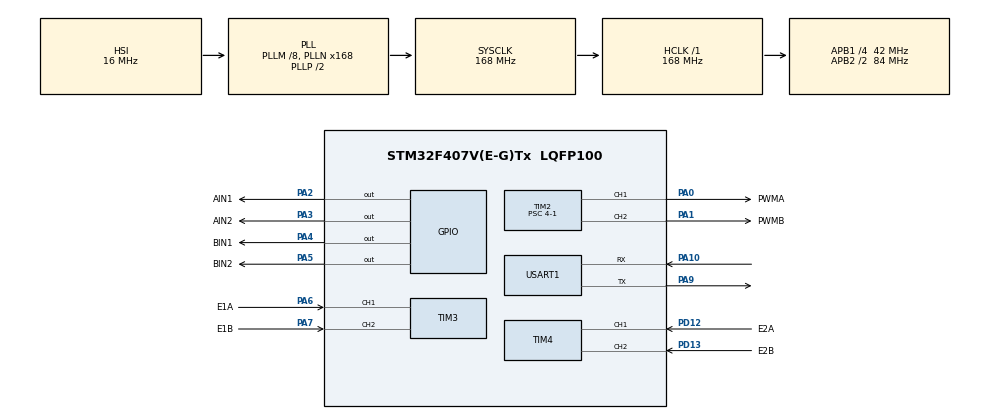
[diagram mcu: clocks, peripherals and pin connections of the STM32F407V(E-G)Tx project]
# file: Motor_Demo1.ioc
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Mcu.Family=STM32F4
Mcu.Name=STM32F407V(E-G)Tx
Mcu.Package=LQFP100
NVIC.PriorityGroup=NVIC_PRIORITYGROUP_4
NVIC.TIM6_DAC_IRQn=true\:0\:0\:false\:false\:true\:true\:true\:true
PA0-WKUP.GPIO_Label=PWMA
PA0-WKUP.Signal=S_TIM2_CH1_ETR
PA1.GPIO_Label=PWMB
PA1.Signal=S_TIM2_CH2
PA10.Mode=Asynchronous
PA10.Signal=USART1_RX
PA13.Mode=Serial_Wire
PA13.Signal=SYS_JTMS-SWDIO
PA14.Mode=Serial_Wire
PA14.Signal=SYS_JTCK-SWCLK
PA2.GPIO_Label=AIN1
PA2.Signal=GPIO_Output
PA3.GPIO_Label=AIN2
PA3.Signal=GPIO_Output
PA4.GPIO_Label=BIN1
PA4.Signal=GPIO_Output
PA5.GPIO_Label=BIN2
PA5.Signal=GPIO_Output
PA6.GPIO_Label=E1A
PA6.Signal=S_TIM3_CH1
PA7.GPIO_Label=E1B
PA7.Signal=S_TIM3_CH2
PA9.Mode=Asynchronous
PA9.Signal=USART1_TX
PD12.GPIO_Label=E2A
PD12.Signal=S_TIM4_CH1
PD13.GPIO_Label=E2B
PD13.Signal=S_TIM4_CH2
ProjectManager.HeapSize=0x200
ProjectManager.StackSize=0x400
ProjectManager.TargetToolchain=MDK-ARM V5.32
RCC.48MHZClocksFreq_Value=84000000
RCC.AHBFreq_Value=168000000
RCC.APB1CLKDivider=RCC_HCLK_DIV4
RCC.APB1Freq_Value=42000000
RCC.APB1TimFreq_Value=84000000
RCC.APB2CLKDivider=RCC_HCLK_DIV2
RCC.APB2Freq_Value=84000000
RCC.APB2TimFreq_Value=168000000
RCC.CortexFreq_Value=168000000
RCC.HCLKFreq_Value=168000000
RCC.HSE_VALUE=25000000
RCC.HSI_VALUE=16000000
RCC.LSE_VALUE=32768
RCC.PLLM=8
RCC.PLLN=168
RCC.SYSCLKFreq_VALUE=168000000
RCC.SYSCLKSource=RCC_SYSCLKSOURCE_PLLCLK
RCC.VCOOutputFreq_Value=336000000
SH.S_TIM2_CH1_ETR.0=TIM2_CH1,PWM Generation1 CH1
SH.S_TIM2_CH2.0=TIM2_CH2,PWM Generation2 CH2
SH.S_TIM3_CH1.0=TIM3_CH1,Encoder_Interface
SH.S_TIM3_CH2.0=TIM3_CH2,Encoder_Interface
SH.S_TIM4_CH1.0=TIM4_CH1,Encoder_Interface
SH.S_TIM4_CH2.0=TIM4_CH2,Encoder_Interface
TIM2.Channel-PWM\ Generation1\ CH1=TIM_CHANNEL_1
TIM2.Channel-PWM\ Generation2\ CH2=TIM_CHANNEL_2
TIM2.Period=2100-1
TIM2.Prescaler=4-1
TIM3.IC1Filter=15
TIM3.IC1Polarity=TIM_ICPOLARITY_RISING
TIM3.IC2Filter=15
TIM4.IC1Filter=15
TIM4.IC1Polarity=TIM_ICPOLARITY_FALLING
TIM4.IC2Filter=15
TIM6.Period=1000-1
TIM6.Prescaler=840-1
USART1.VirtualMode=VM_ASYNC
VP_TIM2_VS_ClockSourceINT.Mode=Internal
VP_TIM6_VS_ClockSourceINT.Mode=Enable_Timer
board=custom

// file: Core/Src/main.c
/* USER CODE BEGIN Header */
/**
  ******************************************************************************
  * @file           : main.c
  * @brief          : Main program body
  ******************************************************************************
  * @attention
  *
  * Copyright (c) 2025 STMicroelectronics.
  * All rights reserved.
  *
  * This software is licensed under terms that can be found in the LICENSE file
  * in the root directory of this software component.
  * If no LICENSE file comes with this software, it is provided AS-IS.
  *
  ******************************************************************************
  */
/* USER CODE END Header */
#include "main.h"
#include "tim.h"
#include "usart.h"
#include "gpio.h"

/* USER CODE BEGIN Includes */
#include <stdio.h>
#include <string.h>
#include "Motor.h"
/* USER CODE END Includes */

/* USER CODE BEGIN PV */
extern uint8_t Encode_Send_Flag;
extern int16_t Encoder1_Count, Encoder2_Count;
/* USER CODE END PV */

void SystemClock_Config(void);

/* USER CODE BEGIN 0 */
int fputc(int ch, FILE *f) {
  (void)f;  // 忽略参数，避免警告
  HAL_UART_Transmit(&huart1, (const uint8_t *)&ch, 1, 500); // 发送一个字节
  return ch;
}
/* USER CODE END 0 */

int main(void)
{

  /* MCU Configuration--------------------------------------------------------*/

  /* Reset of all peripherals, Initializes the Flash interface and the Systick. */
  HAL_Init();

  /* Configure the system clock */
  SystemClock_Config();

  /* Initialize all configured peripherals */
  MX_GPIO_Init();
  MX_TIM2_Init();
  MX_TIM3_Init();
  MX_TIM4_Init();
  MX_USART1_UART_Init();
  MX_TIM6_Init();
  /* USER CODE BEGIN 2 */
  Motor_Init();
  HAL_Delay(3000);
  Motor_Forward(30,30);
  /* USER CODE END 2 */

  /* Infinite loop */
  /* USER CODE BEGIN WHILE */
  while (1)
  {
    if(Encode_Send_Flag)
    {
      Encode_Send_Flag = 0;
      printf("%d,%d\r\n", Encoder1_Count, Encoder2_Count);
    }

    /* USER CODE END WHILE */

  }
}

void SystemClock_Config(void)
{
  RCC_OscInitTypeDef RCC_OscInitStruct = {0};
  RCC_ClkInitTypeDef RCC_ClkInitStruct = {0};

  /** Configure the main internal regulator output voltage
  */
  __HAL_RCC_PWR_CLK_ENABLE();
  __HAL_PWR_VOLTAGESCALING_CONFIG(PWR_REGULATOR_VOLTAGE_SCALE1);

  /** Initializes the RCC Oscillators according to the specified parameters
  * in the RCC_OscInitTypeDef structure.
  */
  RCC_OscInitStruct.OscillatorType = RCC_OSCILLATORTYPE_HSI;
  RCC_OscInitStruct.HSIState = RCC_HSI_ON;
  RCC_OscInitStruct.HSICalibrationValue = RCC_HSICALIBRATION_DEFAULT;
  RCC_OscInitStruct.PLL.PLLState = RCC_PLL_ON;
  RCC_OscInitStruct.PLL.PLLSource = RCC_PLLSOURCE_HSI;
  RCC_OscInitStruct.PLL.PLLM = 8;
  RCC_OscInitStruct.PLL.PLLN = 168;
  RCC_OscInitStruct.PLL.PLLP = RCC_PLLP_DIV2;
  RCC_OscInitStruct.PLL.PLLQ = 4;
  if (HAL_RCC_OscConfig(&RCC_OscInitStruct) != HAL_OK)
  {
    Error_Handler();
  }

  /** Initializes the CPU, AHB and APB buses clocks
  */
  RCC_ClkInitStruct.ClockType = RCC_CLOCKTYPE_HCLK|RCC_CLOCKTYPE_SYSCLK
                              |RCC_CLOCKTYPE_PCLK1|RCC_CLOCKTYPE_PCLK2;
  RCC_ClkInitStruct.SYSCLKSource = RCC_SYSCLKSOURCE_PLLCLK;
  RCC_ClkInitStruct.AHBCLKDivider = RCC_SYSCLK_DIV1;
  RCC_ClkInitStruct.APB1CLKDivider = RCC_HCLK_DIV4;
  RCC_ClkInitStruct.APB2CLKDivider = RCC_HCLK_DIV2;

  if (HAL_RCC_ClockConfig(&RCC_ClkInitStruct, FLASH_LATENCY_5) != HAL_OK)
  {
    Error_Handler();
  }
}

void Error_Handler(void)
{
  __disable_irq();
  while (1)
  {
  }
}
